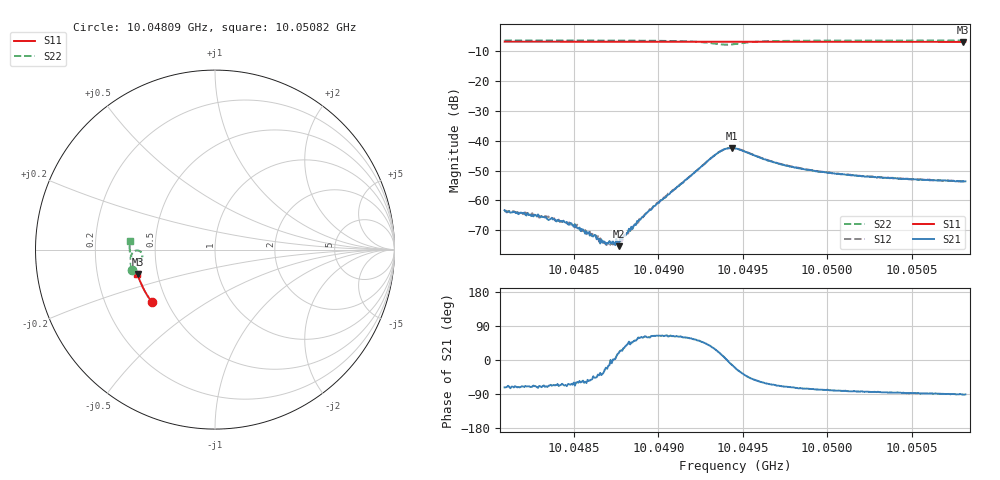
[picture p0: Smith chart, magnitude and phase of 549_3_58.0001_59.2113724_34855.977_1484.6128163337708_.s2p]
#  HZ  S  RI  R  50.00
! Rohde & Schwarz Vector Network Analyzer
! Rohde-Schwarz,ZNB20-2Port,1311601062101988,3.16
! Created: UTC 3/21/2024, 1:14:56 AM
! freq[Hz]  re:S11  im:S11  re:S21  im:S21  re:S12  im:S12  re:S22  im:S22
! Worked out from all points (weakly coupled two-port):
!   401 points, 10.04809 GHz to 10.05082 GHz, reference 50 ohm
!   highest |S21| = -42.44 dB at 10.04943 GHz (marker M1); lowest = -75.4 dB at 10.04876 GHz (marker M2)
!   lowest |S11| = -6.9 dB at 10.05081 GHz (marker M3), VSWR 2.65, Z = 19.2 - j6.53 ohm
!   |S11| at or under -10 dB: nowhere
!   |S22| runs from -7.8 to -6.4 dB; largest |S21 - S12| = 0.00053
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1.0048089e10  -0.3509 -0.2925  0.000206 -0.00065  0.000236 -0.000615  -0.4641 -0.113
1.0048342e10  -0.3609 -0.2792  0.000159 -0.000461  0.000253 -0.000466  -0.4675 -0.0953
1.0048444e10  -0.3648 -0.2739  0.000167 -0.0004  0.000234 -0.000371  -0.4686 -0.0878
1.0048526e10  -0.368 -0.2693  0.000168 -0.000292  0.000188 -0.000299  -0.4695 -0.0817
1.0048546e10  -0.3687 -0.2683  0.000178 -0.000278  0.000174 -0.00025  -0.4696 -0.0801
1.0048628e10  -0.3716 -0.2637  0.000178 -0.000188  0.000181 -0.000183  -0.4701 -0.0738
1.0048656e10  -0.3728 -0.2622  0.000157 -0.000107  0.000201 -0.000115  -0.4704 -0.0716
1.0048697e10  -0.3743 -0.26  0.000179 -7.58e-05  0.000162 -6.25e-05  -0.4705 -0.0682
1.0048751e10  -0.3763 -0.2571  0.000222 3.75e-05  0.000191 3.29e-05  -0.4707 -0.0638
1.0048765e10  -0.3768 -0.2563  0.000162 5.28e-05  0.000184 7.74e-05  -0.4706 -0.0627
1.0048785e10  -0.3775 -0.2552  0.000203 9.11e-05  0.000156 0.000145  -0.4707 -0.0608
1.0048901e10  -0.3814 -0.2486  0.000251 0.00045  0.000247 0.000441  -0.4704 -0.0504
1.0049004e10  -0.3849 -0.2428  0.000395 0.000823  0.000361 0.000841  -0.4691 -0.0401
1.0049345e10  -0.3954 -0.223  0.00546 0.00255  0.00528 0.00295  -0.4194 -0.00843
1.0049393e10  -0.3967 -0.2205  0.00717 0.00076  0.00711 0.00119  -0.4057 -0.0251
1.0049434e10  -0.3977 -0.2183  0.00738 -0.00161  0.00745 -0.00112  -0.4068 -0.0452
1.0049454e10  -0.3984 -0.2173  0.00694 -0.00263  0.00713 -0.00221  -0.4121 -0.0532
1.004972e10  -0.4066 -0.2019  0.00149 -0.00377  0.00173 -0.00372  -0.4668 -0.0398
1.0049911e10  -0.4118 -0.1902  0.000717 -0.00308  0.000892 -0.00308  -0.4731 -0.0193
1.0050369e10  -0.4229 -0.1624  0.000173 -0.00234  0.000323 -0.00235  -0.4754 0.0181
1.0050806e10  -0.4315 -0.1351  -4.08e-05 -0.0021  0.000102 -0.00208  -0.4734 0.0493
1.0050819e10  -0.4318 -0.1343  -3.11e-05 -0.00208  7.81e-05 -0.00209  -0.4732 0.0503
